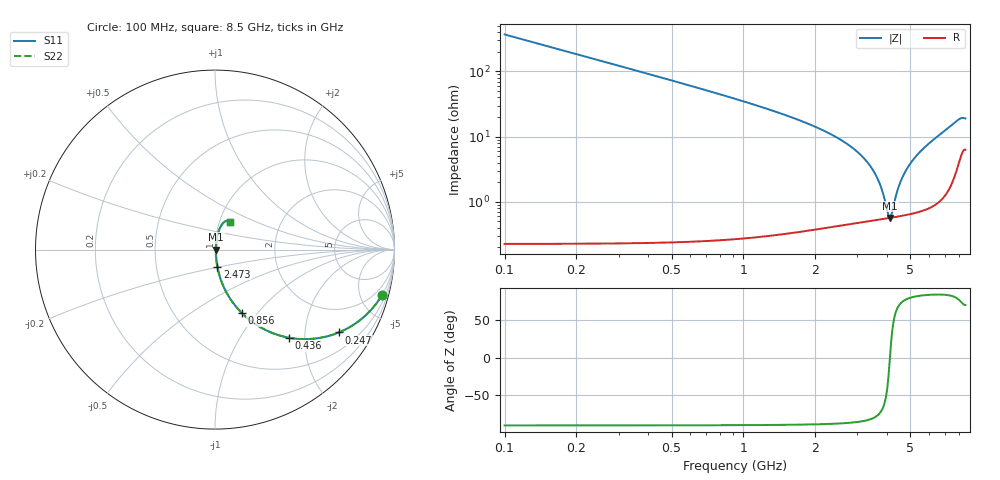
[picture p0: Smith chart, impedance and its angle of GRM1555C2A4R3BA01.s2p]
!Murata Part Number: GRM1555C2A4R3BA01
!These Parameters are Measured in Series Mode Connection
!Data Generated on Mar 30, 2021
!  o--ll--o
!Port1  Port2
!  o------o
!Operation Temp=25[degC], DC Bias Voltage=0[V]
!Freq. Start=100[MHz] Stop=9[GHz] 401[Steps]
# Hz S RI R 50
!Freq.(Hz) S11(Real) S11(Imag) S21(Real) S21(Imag) S12(Real) S12(Imag) S22(Real) S22(Imag)
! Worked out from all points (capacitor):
!   401 points, 100 MHz to 8.5 GHz, reference 50 ohm
!   read as one part in series: C = 4.3 pF near 142 MHz
!   lowest |Z| = 567 mohm at 4.111 GHz (marker M1)
!   series resonance near 4.105 GHz, so ESL is about 350 pH
!   S11 on the Smith chart (normalised r, x): 100 MHz: 1.00, -7.40; 247 MHz: 1.00, -2.99; 436 MHz: 1.00, -1.68; 856 MHz: 1.01, -0.83; 2.473 GHz: 1.01, -0.19; 8.5 GHz: 1.13, +0.36
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1e8  0.9318 -0.2518  0.0682 0.2518  0.0682 0.2518  0.9318 -0.2518
2.47e8  0.6901 -0.4617  0.3099 0.4617  0.3099 0.4617  0.6901 -0.4617
4.36e8  0.4135 -0.4911  0.5865 0.4911  0.5865 0.4911  0.4135 -0.4911
6.25e8  0.2516 -0.4318  0.7484 0.4318  0.7484 0.4318  0.2516 -0.4318
8.56e8  0.1477 -0.3516  0.8523 0.3516  0.8523 0.3516  0.1477 -0.3516
1.507e9  0.0461 -0.2023  0.9539 0.2023  0.9539 0.2023  0.0461 -0.2023
2.473e9  0.0132 -0.0943  0.9868 0.0943  0.9868 0.0943  0.0132 -0.0943
2.914e9  0.00862 -0.0629  0.9914 0.0629  0.9914 0.0629  0.00862 -0.0629
3.313e9  0.00653 -0.0392  0.9935 0.0392  0.9935 0.0392  0.00653 -0.0392
3.607e9  0.00579 -0.0237  0.9942 0.0237  0.9942 0.0237  0.00579 -0.0237
3.817e9  0.00558 -0.0134  0.9944 0.0134  0.9944 0.0134  0.00558 -0.0134
4.048e9  0.00559 -0.0026  0.9944 0.0026  0.9944 0.0026  0.00559 -0.0026
4.111e9  0.00564 0.00025  0.9944 -0.00025  0.9944 -0.00025  0.00564 0.00025
4.174e9  0.0057 0.00307  0.9943 -0.00307  0.9943 -0.00307  0.0057 0.00307
4.3e9  0.00587 0.0086  0.9941 -0.0086  0.9941 -0.0086  0.00587 0.0086
4.51e9  0.00628 0.0176  0.9937 -0.0176  0.9937 -0.0176  0.00628 0.0176
4.804e9  0.00713 0.0298  0.9929 -0.0298  0.9929 -0.0298  0.00713 0.0298
5.203e9  0.00876 0.0458  0.9912 -0.0458  0.9912 -0.0458  0.00876 0.0458
5.707e9  0.0117 0.0656  0.9883 -0.0656  0.9883 -0.0656  0.0117 0.0656
7.114e9  0.0296 0.1249  0.9704 -0.1249  0.9704 -0.1249  0.0296 0.1249
7.996e9  0.0668 0.1618  0.9332 -0.1618  0.9332 -0.1618  0.0668 0.1618
8.5e9  0.0853 0.1544  0.9147 -0.1544  0.9147 -0.1544  0.0853 0.1544
